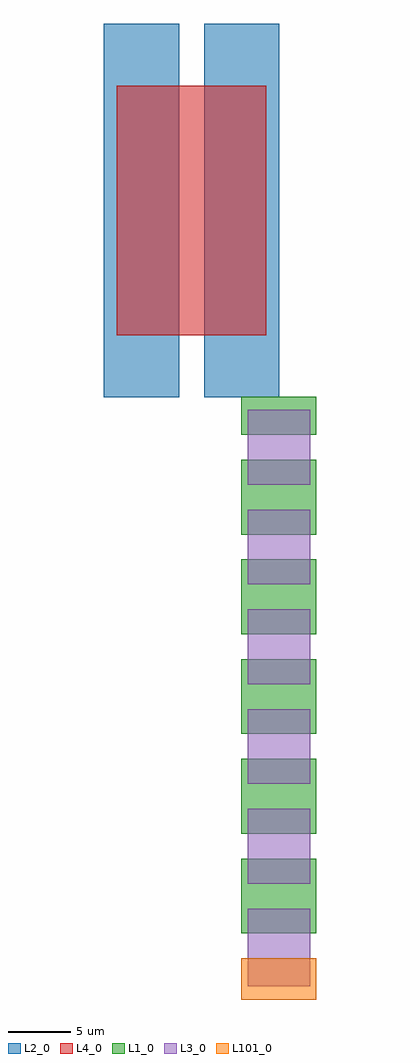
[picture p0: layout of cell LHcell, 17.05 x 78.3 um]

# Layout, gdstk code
import gdstk
lib = gdstk.Library(unit=1e-6, precision=1e-09)
def R(c, l, rs):  # rectangles x0, y0, x1, y1
    for r in rs: c.add(gdstk.rectangle(r[:2], r[2:], *l))
L1_0 = (1, 0)
L2_0 = (2, 0)
L3_0 = (3, 0)
L4_0 = (4, 0)
L101_0 = (101, 0)

lhcell = lib.new_cell('LHcell')
R(lhcell, L1_0, [(11,-58,17,-54.95), (11,-55.05,17,-52), (11,-50,17,-46.95), (11,-47.05,17,-44), (11,-42,17,-38.95), (11,-39.05,17,-36), (11,-34,17,-30.95), (11,-31.05,17,-28), (11,-26,17,-22.95), (11,-23.05,17,-20), (11,-18,17,-14.95)])
R(lhcell, L2_0, [(-0.05,-15,6,15), (8,-15,14.05,15)])
R(lhcell, L3_0, [(11.5,-62.25,16.5,-58.95), (11.5,-59.05,16.5,-56), (11.5,-54,16.5,-50.95), (11.5,-51.05,16.5,-48), (11.5,-46,16.5,-42.95), (11.5,-43.05,16.5,-40), (11.5,-38,16.5,-34.95), (11.5,-35.05,16.5,-32), (11.5,-30,16.5,-26.95), (11.5,-27.05,16.5,-24), (11.5,-22,16.5,-18.95), (11.5,-19.05,16.5,-16)])
R(lhcell, L4_0, [(1,-10,7.05,10), (6.95,-10,13,10)])
R(lhcell, L101_0, [(11,-63.3,17,-60)])

lib.write_gds('LHcell.gds')
